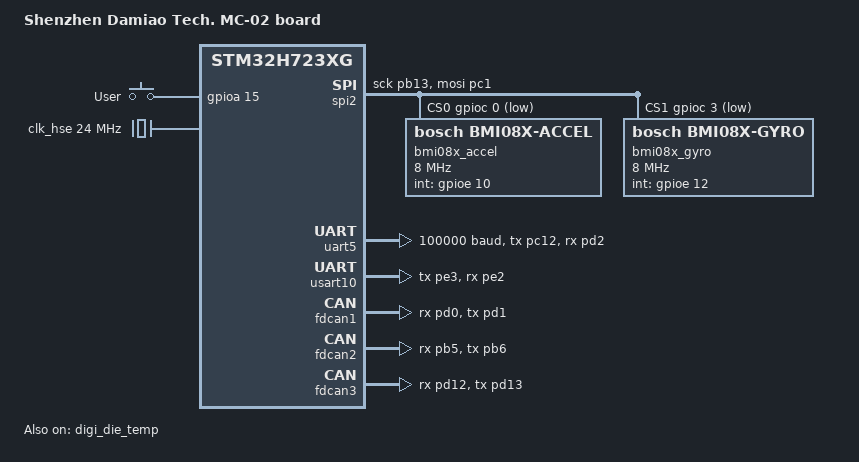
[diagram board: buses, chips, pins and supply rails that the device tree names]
/*
 * Copyright (c) 2025 RobotPilots
 * SPDX-License-Identifier: Apache-2.0
 */

/dts-v1/;

#include <st/h7/stm32h723Xg.dtsi>
#include <st/h7/stm32h723vgtx-pinctrl.dtsi>
#include <zephyr/dt-bindings/input/input-event-codes.h>

/ {
	model = "Shenzhen Damiao Tech. MC-02 board";
	compatible = "damiao,mc02";

	chosen {
		zephyr,dtcm = &dtcm;
		zephyr,sram = &sram0;
		zephyr,flash = &flash0;
	};

	gpio_keys {
		compatible = "gpio-keys";
		user_button: button_0 {
			label = "User";
			gpios = <&gpioa 15 GPIO_ACTIVE_HIGH>;
			zephyr,code = <INPUT_KEY_0>;
		};
	};

	aliases {
		sw0 = &user_button;
		memsaccell = &bmi08x_accel;
	};
};

&clk_lsi {
	status = "okay";
};

&clk_hsi48 {
	status = "okay";
};

&clk_hse {
	clock-frequency = <DT_FREQ_M(24)>; /* On-board 24MHz RCC */
	status = "okay";
};

&pll {
	div-m = <12>;
	mul-n = <275>;
	div-p = <1>;    /* DIVP1: 550 MHz */
	div-q = <2>;    /* DIVQ1: 275 MHz */
	div-r = <2>;    /* DIVR1: 275 MHz */
	clocks = <&clk_hse>;
	status = "okay";
};

&pll2 {
	div-m = <2>;
	mul-n = <40>;
	div-p = <4>;    /* DIVP2: 120 MHz */
	div-q = <4>;    /* DIVQ2: 120 MHz */
	div-r = <2>;    /* DIVR2: 240 MHz */
	clocks = <&clk_hse>;
	status = "okay";
};

&rcc {
	clocks = <&pll>;
	clock-frequency = <DT_FREQ_M(550)>;
	d1cpre = <1>;   /* CPU : 550   MHz */
	hpre = <2>;    	/* HCLK: 275   MHz */
	d1ppre = <2>;  	/* APB1: 137.5 MHz */
	d2ppre1 = <2>;	/* APB2: 137.5 MHz */
	d2ppre2 = <2>; 	/* APB3: 137.5 MHz */
	d3ppre = <2>;  	/* APB4: 137.5 MHz */
};

&backup_sram {
	status = "okay";
};

&dma1 {
	status = "okay";
};

&dma2 {
	status = "okay";
};

&dmamux1 {
	status = "okay";
};

&spi2 {
	status = "okay";
	clocks = <&rcc STM32_CLOCK(APB1, 14U)>,
	         <&rcc STM32_SRC_PLL2_P SPI123_SEL(0)>;
	pinctrl-0 = <&spi2_sck_pb13>,
				<&spi2_miso_pc2_c>,
				<&spi2_mosi_pc1>;
	pinctrl-names = "default";
	cs-gpios = <&gpioc 0 GPIO_ACTIVE_LOW>,
			   <&gpioc 3 GPIO_ACTIVE_LOW>;
	dmas = <&dmamux1 2 2 STM32_DMA_PERIPH_TX>,
	       <&dmamux1 1 1 STM32_DMA_PERIPH_RX>;
	dma-names = "tx", "rx";

	bmi08x_accel: bmi08x@0 {
		compatible = "bosch,bmi08x-accel";
		reg = <0>;
		int-gpios = <&gpioe 10 GPIO_ACTIVE_HIGH>;
		spi-max-frequency = <DT_FREQ_M(8)>;
		int1-map-io = <0x01>;
		int2-map-io = <0x00>;
		int1-conf-io = <0x04>;
		int2-conf-io = <0x00>;
		accel-hz = "800";
		accel-fs = <24>;
	};

	bmi08x_gyro: bmi08x@1 {
		compatible = "bosch,bmi08x-gyro";
		reg = <1>;
		int-gpios = <&gpioe 12 GPIO_ACTIVE_HIGH>;
		spi-max-frequency = <DT_FREQ_M(8)>;
		int3-4-map-io = <0x01>;
		int3-4-conf-io = <0x02>;
		gyro-hz = "1000_116";
		gyro-fs = <1000>;
	};
};

&uart5 {
	status = "okay";
	pinctrl-0 = <&uart5_tx_pc12>,
				<&uart5_rx_pd2>;
	pinctrl-names = "default";
	current-speed = <100000>;
	data-bits = <9>;
	dmas = <&dmamux1 0 3 STM32_DMA_PERIPH_RX>;
	dma-names = "rx";
};

&usart10 {
	status = "okay";
	pinctrl-0 = <&usart10_tx_pe3>,
				<&usart10_rx_pe2>;
	pinctrl-names = "default";
	// current-speed = <115200>;	// Default is 115200
};

&fdcan1 {
    status = "okay";
    clocks = <&rcc STM32_CLOCK(APB1_2, 8U)>,
             <&rcc STM32_SRC_PLL2_Q FDCAN_SEL(2)>;
    pinctrl-0 = <&fdcan1_rx_pd0>,
				<&fdcan1_tx_pd1>;
	pinctrl-names = "default";
};

&fdcan2 {
    status = "okay";
    clocks = <&rcc STM32_CLOCK(APB1_2, 8U)>,
             <&rcc STM32_SRC_PLL2_Q FDCAN_SEL(2)>;
	pinctrl-0 = <&fdcan2_rx_pb5>,
				<&fdcan2_tx_pb6>;
	pinctrl-names = "default";
};

&fdcan3 {
    status = "okay";
    clocks = <&rcc STM32_CLOCK(APB1_2, 8U)>,
             <&rcc STM32_SRC_PLL2_Q FDCAN_SEL(2)>;
	pinctrl-0 = <&fdcan3_rx_pd12>,
				<&fdcan3_tx_pd13>;
	pinctrl-names = "default";
};

&digi_die_temp {
    status = "okay";
};

&nvic {
	status = "disabled";
};
